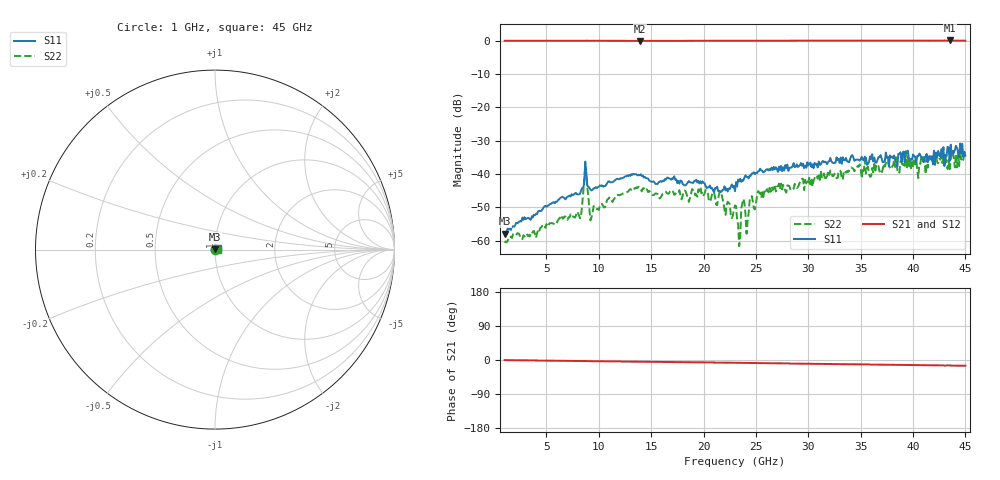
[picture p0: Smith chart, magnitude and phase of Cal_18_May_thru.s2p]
!Keysight Technologies,N5247B,MY61255062,A.19.80.06
!Date: Monday, May 18, 2026 11:34:01
!Correction: S11(C  2-Port  )
!S21(C  2-Port  )
!S12(C  2-Port  )
!S22(C  2-Port  )
!S2P File: Measurements: S11, S21, S12, S22:
# Hz S  dB  R 50
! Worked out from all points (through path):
!   441 points, 1 GHz to 45 GHz, reference 50 ohm
!   highest |S21| = 0.10 dB at 43.5 GHz (marker M1); lowest = 0.0 dB at 13.9 GHz (marker M2)
!   group delay of S21, straight-line fit = 926 fs
!   lowest |S11| = -57.9 dB at 1 GHz (marker M3), VSWR 1.00, Z = 50.1 + j0.0592 ohm
!   |S11| at or under -10 dB: start of sweep to end of sweep
!   |S22| runs from -61.6 to -32.9 dB; largest |S21 - S12| = 0.0085
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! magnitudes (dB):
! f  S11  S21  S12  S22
! 1 GHz  -57.9  0.0  0.0  -60.7
! 8.1 GHz  -46.1  0.0  0.0  -52.3
! 8.4 GHz  -44.2  0.0  0.0  -49.4
! 8.7 GHz  -36.3  0.0  0.0  -37.4
! 9.3 GHz  -44.9  0.0  0.0  -52.9
! 13.9 GHz  -40.4  0.0  0.0  -44.5
! 15.7 GHz  -42.5  0.0  0.0  -46.7
! 19.7 GHz  -42.2  0.0  0.0  -43.9
! 21.6 GHz  -45.3  0.0  0.0  -45.2
! 22 GHz  -43.7  0.0  0.0  -50.7
! 23 GHz  -45.2  0.0  0.0  -49.4
! 23.4 GHz  -42.2  0.0  0.0  -61.6
! 23.8 GHz  -42.0  0.0  0.0  -47.5
! 24.2 GHz  -40.9  0.0  0.0  -54.2
! 24.5 GHz  -40.5  0.0  0.0  -47.5
! 25.4 GHz  -38.4  0.0  0.0  -45.6
! 30.4 GHz  -37.1  0.0  0.0  -43.8
! 37.7 GHz  -37.7  0.0  0.0  -37.5
! 40.5 GHz  -34.6  0.0  0.0  -41.2
! 41.9 GHz  -37.1  0.0  0.0  -35.5
! 43.5 GHz  -36.0  0.1  0.0  -38.6
! 45 GHz  -34.5  0.0  0.1  -34.7
